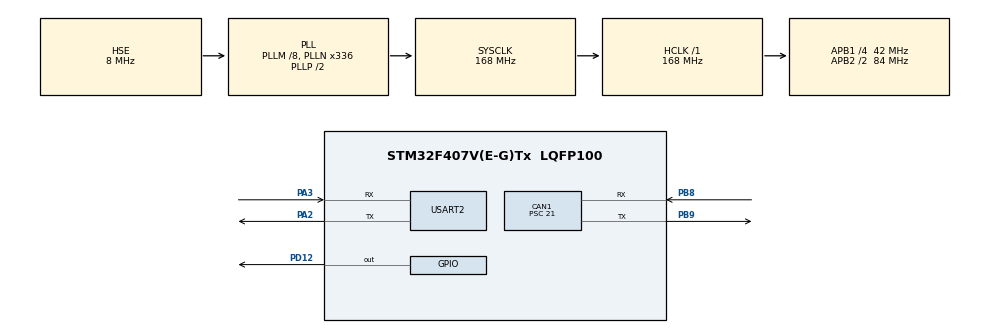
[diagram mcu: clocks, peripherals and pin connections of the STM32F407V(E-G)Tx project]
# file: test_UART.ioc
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CAN1.BS1=CAN_BS1_2TQ
CAN1.CalculateBaudRate=500000
CAN1.CalculateTimeBit=2000
CAN1.CalculateTimeQuantum=500.0
CAN1.Mode=CAN_MODE_NORMAL
CAN1.Prescaler=21
CAN1.SJW=CAN_SJW_1TQ
Dma.Request0=USART2_TX
Dma.Request1=USART2_RX
Dma.USART2_RX.1.Direction=DMA_PERIPH_TO_MEMORY
Dma.USART2_RX.1.FIFOMode=DMA_FIFOMODE_DISABLE
Dma.USART2_RX.1.Instance=DMA1_Stream5
Dma.USART2_RX.1.MemDataAlignment=DMA_MDATAALIGN_BYTE
Dma.USART2_RX.1.MemInc=DMA_MINC_ENABLE
Dma.USART2_RX.1.Mode=DMA_NORMAL
Dma.USART2_RX.1.PeriphDataAlignment=DMA_PDATAALIGN_BYTE
Dma.USART2_RX.1.PeriphInc=DMA_PINC_DISABLE
Dma.USART2_RX.1.Priority=DMA_PRIORITY_HIGH
Dma.USART2_TX.0.Direction=DMA_MEMORY_TO_PERIPH
Dma.USART2_TX.0.FIFOMode=DMA_FIFOMODE_DISABLE
Dma.USART2_TX.0.Instance=DMA1_Stream6
Dma.USART2_TX.0.MemDataAlignment=DMA_MDATAALIGN_BYTE
Dma.USART2_TX.0.MemInc=DMA_MINC_ENABLE
Dma.USART2_TX.0.Mode=DMA_NORMAL
Dma.USART2_TX.0.PeriphDataAlignment=DMA_PDATAALIGN_BYTE
Dma.USART2_TX.0.PeriphInc=DMA_PINC_DISABLE
Dma.USART2_TX.0.Priority=DMA_PRIORITY_HIGH
IWDG.Prescaler=IWDG_PRESCALER_32
IWDG.Reload=1499
Mcu.Family=STM32F4
Mcu.Name=STM32F407V(E-G)Tx
Mcu.Package=LQFP100
NVIC.CAN1_RX0_IRQn=true\:1\:0\:true\:false\:true\:true\:true\:true
NVIC.CAN1_RX1_IRQn=true\:1\:0\:true\:false\:true\:true\:true\:true
NVIC.DMA1_Stream5_IRQn=true\:0\:0\:false\:false\:true\:false\:true\:true
NVIC.DMA1_Stream6_IRQn=true\:0\:0\:false\:false\:true\:false\:true\:true
NVIC.PriorityGroup=NVIC_PRIORITYGROUP_4
NVIC.USART2_IRQn=true\:0\:0\:false\:false\:true\:true\:true\:true
PA13.Mode=Serial_Wire
PA13.Signal=SYS_JTMS-SWDIO
PA14.Mode=Serial_Wire
PA14.Signal=SYS_JTCK-SWCLK
PA2.Mode=Asynchronous
PA2.Signal=USART2_TX
PA3.Mode=Asynchronous
PA3.Signal=USART2_RX
PB8.Mode=CAN_Activate
PB8.Signal=CAN1_RX
PB9.Mode=CAN_Activate
PB9.Signal=CAN1_TX
PD12.Signal=GPIO_Output
PH0-OSC_IN.Mode=HSE-External-Oscillator
PH0-OSC_IN.Signal=RCC_OSC_IN
PH1-OSC_OUT.Mode=HSE-External-Oscillator
PH1-OSC_OUT.Signal=RCC_OSC_OUT
ProjectManager.HeapSize=0x200
ProjectManager.StackSize=0x400
ProjectManager.TargetToolchain=STM32CubeIDE
RCC.48MHZClocksFreq_Value=84000000
RCC.AHBFreq_Value=168000000
RCC.APB1CLKDivider=RCC_HCLK_DIV4
RCC.APB1Freq_Value=42000000
RCC.APB1TimFreq_Value=84000000
RCC.APB2CLKDivider=RCC_HCLK_DIV2
RCC.APB2Freq_Value=84000000
RCC.APB2TimFreq_Value=168000000
RCC.CortexFreq_Value=168000000
RCC.HCLKFreq_Value=168000000
RCC.HSE_VALUE=8000000
RCC.HSI_VALUE=16000000
RCC.LSE_VALUE=32768
RCC.PLLM=8
RCC.PLLN=336
RCC.PLLSourceVirtual=RCC_PLLSOURCE_HSE
RCC.SYSCLKFreq_VALUE=168000000
RCC.SYSCLKSource=RCC_SYSCLKSOURCE_PLLCLK
RCC.VCOOutputFreq_Value=336000000
USART2.VirtualMode=VM_ASYNC
VP_IWDG_VS_IWDG.Mode=IWDG_Activate
board=custom

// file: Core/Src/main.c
/* USER CODE BEGIN Header */
/**
  ******************************************************************************
  * @file           : main.c
  * @brief          : Main program body
  ******************************************************************************
  * @attention
  *
  * Copyright (c) 2023 STMicroelectronics.
  * All rights reserved.
  *
  * This software is licensed under terms that can be found in the LICENSE file
  * in the root directory of this software component.
  * If no LICENSE file comes with this software, it is provided AS-IS.
  *
  ******************************************************************************
  */
/* USER CODE END Header */
#include "main.h"

/* USER CODE BEGIN Includes */
#include <stdbool.h>
#include <stdint.h>
#include <string.h>
#include <math.h>
#include <stdio.h>
#include <stdlib.h>
/* USER CODE END Includes */

CAN_HandleTypeDef hcan1;

IWDG_HandleTypeDef hiwdg;

UART_HandleTypeDef huart2;
DMA_HandleTypeDef hdma_usart2_tx;
DMA_HandleTypeDef hdma_usart2_rx;

void SystemClock_Config(void);
static void MX_GPIO_Init(void);
static void MX_DMA_Init(void);
static void MX_CAN1_Init(void);
static void MX_USART2_UART_Init(void);
static void MX_IWDG_Init(void);

/* USER CODE BEGIN 0 */
CAN_TxHeaderTypeDef TxHeader;
CAN_RxHeaderTypeDef RxHeader;
uint32_t TxMailbox;
uint8_t TxData[2];
uint8_t RxData[2];
uint8_t count =0;

int MAX_LEN=10;
uint8_t nRxData[10];
uint8_t nTxData[10];
uint8_t nTxData_CAN[10];
uint8_t strCommand[4];
uint8_t strOpt[1];
uint8_t strData[2];

bool bDataAvailable = false;
uint8_t STX[]={0x02U};
uint8_t ETX[]={0x03U};
uint8_t ACK[]={0x06U};
uint8_t SYN[]={0x16U};
uint8_t NUL[]={0x4EU, 0x55U, 0x4CU, 0x4CU};
uint8_t ONLD[]={0x4FU, 0x4EU, 0x4CU, 0x44U};
uint8_t VADC[]={0x56U, 0x41U, 0x44U, 0x43U};
uint8_t RBTN[]={0x52U, 0x42U, 0x54U, 0x4EU};
//uint8_t OFLD[]={0x4FU, 0x46U, 0x4CU, 0x44U};

uint16_t CanRxADC_Val = 0;

uint8_t *subString(uint8_t *s, int pos, int index)
{
	uint8_t *t =&s[pos];
	/*s[pos-1] = '\0';
	for (int i = index; i < (strlen((char *)t)+1); i++)
	{
		t[i]='\0';
	}*/
	return t;
}

bool StrCompare(uint8_t *pBuff, uint8_t *Sample, uint8_t nSize)
{
	for (int i=0; i< nSize; i++)
	{
		if (pBuff[i] != Sample[i])
		{
			return false;
		}
	}
	return true;
}

bool WriteComm(uint8_t *pBuff, uint8_t nSize)
{
	return HAL_UART_Transmit_DMA(&huart2, pBuff, nSize);
}

bool ReadComm(uint8_t *pBuff, uint8_t nSize)
{
	if ((pBuff[0] == STX[0]) && (pBuff[9] == ETX[0]))
	{
		memcpy(strCommand, subString(pBuff, 1, 4), 4);
		memcpy(strOpt, subString(pBuff, 5, 1), 1);
		memcpy(strData, subString(pBuff, 6, 2), 2);

		bDataAvailable = true;
	}
	else{
		bDataAvailable = false;
	}
	return bDataAvailable;
}
void HAL_CAN_RxFifo0MsgPendingCallback(CAN_HandleTypeDef *hcan)
{
	HAL_CAN_GetRxMessage(&hcan1, CAN_RX_FIFO0, &RxHeader, RxData);
	uint8_t nIndex_CAN =0;

	if(RxHeader.StdId == 0x0B)
	{
		CanRxADC_Val = (uint16_t)((RxData[0]<<8) + RxData[1]);

		uint8_t ID_valB=0x0B;
		memcpy(nTxData_CAN + nIndex_CAN, STX, 1);
		nIndex_CAN +=1;
		memcpy(nTxData_CAN + nIndex_CAN, VADC, 4);
		nIndex_CAN +=4;
		memcpy(nTxData_CAN + nIndex_CAN, &ID_valB, 1);
		nIndex_CAN +=1;
		memcpy(nTxData_CAN + nIndex_CAN, RxData, 2);
		nIndex_CAN +=2;
		memcpy(nTxData_CAN + nIndex_CAN, ACK, 1);
		nIndex_CAN +=1;
		memcpy(nTxData_CAN + nIndex_CAN, ETX, 1);
		nIndex_CAN +=1;
		WriteComm(nTxData_CAN, MAX_LEN);
	}
	else if (RxHeader.StdId == 0x0C)
	{
		uint8_t ID_valC =0x0C;
		memcpy(nTxData_CAN + nIndex_CAN, STX, 1);
		nIndex_CAN +=1;
		memcpy(nTxData_CAN + nIndex_CAN, RBTN, 4);
		nIndex_CAN +=4;
		memcpy(nTxData_CAN + nIndex_CAN, &ID_valC, 1);
		nIndex_CAN +=1;
		memcpy(nTxData_CAN + nIndex_CAN, RxData, 2);
		nIndex_CAN +=2;
		memcpy(nTxData_CAN + nIndex_CAN, ACK, 1);
		nIndex_CAN +=1;
		memcpy(nTxData_CAN + nIndex_CAN, ETX, 1);
		nIndex_CAN +=1;
		WriteComm(nTxData_CAN, MAX_LEN);
	}
}

void HAL_UART_RxCpltCallback(UART_HandleTypeDef *huart)
{
	if (huart->Instance == huart2.Instance)
	{
		ReadComm(nRxData, MAX_LEN);
		HAL_UART_Receive_IT(&huart2, (uint8_t *)nRxData, MAX_LEN);
	}
}

bool serialProcess(void)
{
	uint8_t nIndex =0;
	if (bDataAvailable == true)
	{
		if(StrCompare(strCommand, ONLD, 4))
		{
			HAL_GPIO_TogglePin(GPIOD,GPIO_PIN_12);
			memcpy(nTxData + nIndex, STX, 1);
			nIndex +=1;
			memcpy(nTxData + nIndex, strCommand, 4);
			nIndex +=4;
			memcpy(nTxData + nIndex, strOpt, 1);
			nIndex +=1;
			memcpy(nTxData + nIndex, strData, 2);
			nIndex +=2;
			memcpy(nTxData + nIndex, ACK, 1);
			nIndex +=1;
			memcpy(nTxData + nIndex, ETX, 1);
			nIndex +=1;
			WriteComm(nTxData, MAX_LEN);

			TxHeader.DLC = 2;
			TxHeader.ExtId = 0;
			TxHeader.IDE = CAN_ID_STD;
			TxHeader.RTR = CAN_RTR_DATA;
			TxHeader.StdId = 0x0A;
			TxHeader.TransmitGlobalTime = DISABLE;

			TxData[0] = nTxData[6]; // Data send to CAN BUS to turn on led with rule
			TxData[1] = nTxData[7];

			if (HAL_CAN_AddTxMessage(&hcan1, &TxHeader, TxData,&TxMailbox) != HAL_OK)
				{
					NVIC_SystemReset();
				}
		}
		/*if(StrCompare(strCommand, VADC, 4))
		{
			memcpy(nTxData + nIndex, STX, 1);
			nIndex +=1;
			memcpy(nTxData + nIndex, strCommand, 4);
			nIndex +=4;
			memcpy(nTxData + nIndex, strOpt, 1);
			nIndex +=1;
			memcpy(nTxData + nIndex, strData, 2);
			nIndex +=2;
			memcpy(nTxData + nIndex, ACK, 1);
			nIndex +=1;
			memcpy(nTxData + nIndex, ETX, 1);
			nIndex +=1;
			//WriteComm(nTxData, MAX_LEN);

			TxHeader.DLC = 2;
			TxHeader.ExtId = 0;
			TxHeader.IDE = CAN_ID_STD;
			TxHeader.RTR = CAN_RTR_DATA;
			TxHeader.StdId = 0x0B;
			TxHeader.TransmitGlobalTime = DISABLE;

			TxData[0] = nTxData[6]; // Data send to CAN BUS to turn on led with rule
			TxData[1] = nTxData[7];
			HAL_CAN_AddTxMessage(&hcan1, &TxHeader, TxData,&TxMailbox);
		}
		if(StrCompare(strCommand, RBTN, 4))
		{
			memcpy(nTxData + nIndex, STX, 1);
			nIndex +=1;
			memcpy(nTxData + nIndex, strCommand, 4);
			nIndex +=4;
			memcpy(nTxData + nIndex, strOpt, 1);
			nIndex +=1;
			memcpy(nTxData + nIndex, strData, 2);
			nIndex +=2;
			memcpy(nTxData + nIndex, ACK, 1);
			nIndex +=1;
			memcpy(nTxData + nIndex, ETX, 1);
			nIndex +=1;
			//WriteComm(nTxData, MAX_LEN);

			TxHeader.DLC = 2;
			TxHeader.ExtId = 0;
			TxHeader.IDE = CAN_ID_STD;
			TxHeader.RTR = CAN_RTR_DATA;
			TxHeader.StdId = 0x0C;
			TxHeader.TransmitGlobalTime = DISABLE;

			TxData[0] = nTxData[6]; // Data send to CAN BUS to turn on led with rule
			TxData[1] = nTxData[7];
			HAL_CAN_AddTxMessage(&hcan1, &TxHeader, TxData,&TxMailbox);
		}*/
else
		{
			memcpy(nTxData + nIndex, STX, 1);
			nIndex +=1;
			memcpy(nTxData + nIndex, NUL, 4);
			nIndex +=4;
			memcpy(nTxData + nIndex, (uint8_t *)strOpt, 1);
			nIndex +=3;
			memcpy(nTxData + nIndex, (uint8_t *)strData, 2);
			nIndex +=8;
			memcpy(nTxData + nIndex, ACK, 1);
			nIndex +=1;
			memcpy(nTxData + nIndex, ETX, 1);
			nIndex +=1;
			WriteComm(nTxData, MAX_LEN);
		}

bDataAvailable = false;
	}
	return true;
}
/* USER CODE END 0 */

int main(void)
{

  /* MCU Configuration--------------------------------------------------------*/

  /* Reset of all peripherals, Initializes the Flash interface and the Systick. */
  HAL_Init();

  /* Configure the system clock */
  SystemClock_Config();

  /* Initialize all configured peripherals */
  MX_GPIO_Init();
  MX_DMA_Init();
  MX_CAN1_Init();
  MX_USART2_UART_Init();
  MX_IWDG_Init();
  /* USER CODE BEGIN 2 */
  HAL_UART_Receive_IT(&huart2, (uint8_t *)nRxData, MAX_LEN);
  HAL_CAN_Start(&hcan1);
  HAL_CAN_ActivateNotification(&hcan1,CAN_IT_RX_FIFO0_MSG_PENDING);

  /* USER CODE END 2 */

  /* Infinite loop */
  while (1)
  {

    /* USER CODE BEGIN 3 */
	  //HAL_IWDG_Refresh (&hiwdg);
		serialProcess();
  }

  /* USER CODE END 3 */
}

void SystemClock_Config(void)
{
  RCC_OscInitTypeDef RCC_OscInitStruct = {0};
  RCC_ClkInitTypeDef RCC_ClkInitStruct = {0};

  /** Configure the main internal regulator output voltage
  */
  __HAL_RCC_PWR_CLK_ENABLE();
  __HAL_PWR_VOLTAGESCALING_CONFIG(PWR_REGULATOR_VOLTAGE_SCALE1);

  /** Initializes the RCC Oscillators according to the specified parameters
  * in the RCC_OscInitTypeDef structure.
  */
  RCC_OscInitStruct.OscillatorType = RCC_OSCILLATORTYPE_LSI|RCC_OSCILLATORTYPE_HSE;
  RCC_OscInitStruct.HSEState = RCC_HSE_ON;
  RCC_OscInitStruct.LSIState = RCC_LSI_ON;
  RCC_OscInitStruct.PLL.PLLState = RCC_PLL_ON;
  RCC_OscInitStruct.PLL.PLLSource = RCC_PLLSOURCE_HSE;
  RCC_OscInitStruct.PLL.PLLM = 8;
  RCC_OscInitStruct.PLL.PLLN = 336;
  RCC_OscInitStruct.PLL.PLLP = RCC_PLLP_DIV2;
  RCC_OscInitStruct.PLL.PLLQ = 4;
  if (HAL_RCC_OscConfig(&RCC_OscInitStruct) != HAL_OK)
  {
    Error_Handler();
  }

  /** Initializes the CPU, AHB and APB buses clocks
  */
  RCC_ClkInitStruct.ClockType = RCC_CLOCKTYPE_HCLK|RCC_CLOCKTYPE_SYSCLK
                              |RCC_CLOCKTYPE_PCLK1|RCC_CLOCKTYPE_PCLK2;
  RCC_ClkInitStruct.SYSCLKSource = RCC_SYSCLKSOURCE_PLLCLK;
  RCC_ClkInitStruct.AHBCLKDivider = RCC_SYSCLK_DIV1;
  RCC_ClkInitStruct.APB1CLKDivider = RCC_HCLK_DIV4;
  RCC_ClkInitStruct.APB2CLKDivider = RCC_HCLK_DIV2;

  if (HAL_RCC_ClockConfig(&RCC_ClkInitStruct, FLASH_LATENCY_5) != HAL_OK)
  {
    Error_Handler();
  }
}

static void MX_CAN1_Init(void)
{

  hcan1.Instance = CAN1;
  hcan1.Init.Prescaler = 21;
  hcan1.Init.Mode = CAN_MODE_NORMAL;
  hcan1.Init.SyncJumpWidth = CAN_SJW_1TQ;
  hcan1.Init.TimeSeg1 = CAN_BS1_2TQ;
  hcan1.Init.TimeSeg2 = CAN_BS2_1TQ;
  hcan1.Init.TimeTriggeredMode = DISABLE;
  hcan1.Init.AutoBusOff = DISABLE;
  hcan1.Init.AutoWakeUp = DISABLE;
  hcan1.Init.AutoRetransmission = DISABLE;
  hcan1.Init.ReceiveFifoLocked = DISABLE;
  hcan1.Init.TransmitFifoPriority = DISABLE;
  if (HAL_CAN_Init(&hcan1) != HAL_OK)
  {
    Error_Handler();
  }
  /* USER CODE BEGIN CAN1_Init 2 */
  CAN_FilterTypeDef canfilterconfig;

  canfilterconfig.FilterActivation = CAN_FILTER_ENABLE;
  canfilterconfig.FilterBank = 10;  // which filter bank to use from the assigned ones
  canfilterconfig.FilterFIFOAssignment = CAN_FILTER_FIFO0;
  canfilterconfig.FilterIdHigh = 0x000<<5;
  canfilterconfig.FilterIdLow = 0;
  canfilterconfig.FilterMaskIdHigh = 0x000<<5;
  canfilterconfig.FilterMaskIdLow = 0x0000;
  canfilterconfig.FilterMode = CAN_FILTERMODE_IDMASK;
  canfilterconfig.FilterScale = CAN_FILTERSCALE_32BIT;
  canfilterconfig.SlaveStartFilterBank = 13;  // how many filters to assign to the CAN1 (master can)

  HAL_CAN_ConfigFilter(&hcan1, &canfilterconfig);
  /* USER CODE END CAN1_Init 2 */

}

static void MX_IWDG_Init(void)
{

  hiwdg.Instance = IWDG;
  hiwdg.Init.Prescaler = IWDG_PRESCALER_32;
  hiwdg.Init.Reload = 1499;
  if (HAL_IWDG_Init(&hiwdg) != HAL_OK)
  {
    Error_Handler();
  }

}

static void MX_USART2_UART_Init(void)
{

  huart2.Instance = USART2;
  huart2.Init.BaudRate = 115200;
  huart2.Init.WordLength = UART_WORDLENGTH_8B;
  huart2.Init.StopBits = UART_STOPBITS_1;
  huart2.Init.Parity = UART_PARITY_NONE;
  huart2.Init.Mode = UART_MODE_TX_RX;
  huart2.Init.HwFlowCtl = UART_HWCONTROL_NONE;
  huart2.Init.OverSampling = UART_OVERSAMPLING_16;
  if (HAL_UART_Init(&huart2) != HAL_OK)
  {
    Error_Handler();
  }

}

static void MX_DMA_Init(void)
{

  /* DMA controller clock enable */
  __HAL_RCC_DMA1_CLK_ENABLE();

  /* DMA interrupt init */
  /* DMA1_Stream5_IRQn interrupt configuration */
  HAL_NVIC_SetPriority(DMA1_Stream5_IRQn, 0, 0);
  HAL_NVIC_EnableIRQ(DMA1_Stream5_IRQn);
  /* DMA1_Stream6_IRQn interrupt configuration */
  HAL_NVIC_SetPriority(DMA1_Stream6_IRQn, 0, 0);
  HAL_NVIC_EnableIRQ(DMA1_Stream6_IRQn);

}

static void MX_GPIO_Init(void)
{
  GPIO_InitTypeDef GPIO_InitStruct = {0};

  /* GPIO Ports Clock Enable */
  __HAL_RCC_GPIOH_CLK_ENABLE();
  __HAL_RCC_GPIOA_CLK_ENABLE();
  __HAL_RCC_GPIOD_CLK_ENABLE();
  __HAL_RCC_GPIOB_CLK_ENABLE();

  /*Configure GPIO pin Output Level */
  HAL_GPIO_WritePin(GPIOD, GPIO_PIN_12, GPIO_PIN_RESET);

  /*Configure GPIO pin : PD12 */
  GPIO_InitStruct.Pin = GPIO_PIN_12;
  GPIO_InitStruct.Mode = GPIO_MODE_OUTPUT_PP;
  GPIO_InitStruct.Pull = GPIO_NOPULL;
  GPIO_InitStruct.Speed = GPIO_SPEED_FREQ_LOW;
  HAL_GPIO_Init(GPIOD, &GPIO_InitStruct);

}

void Error_Handler(void)
{
  __disable_irq();
  while (1)
  {
  }
}
